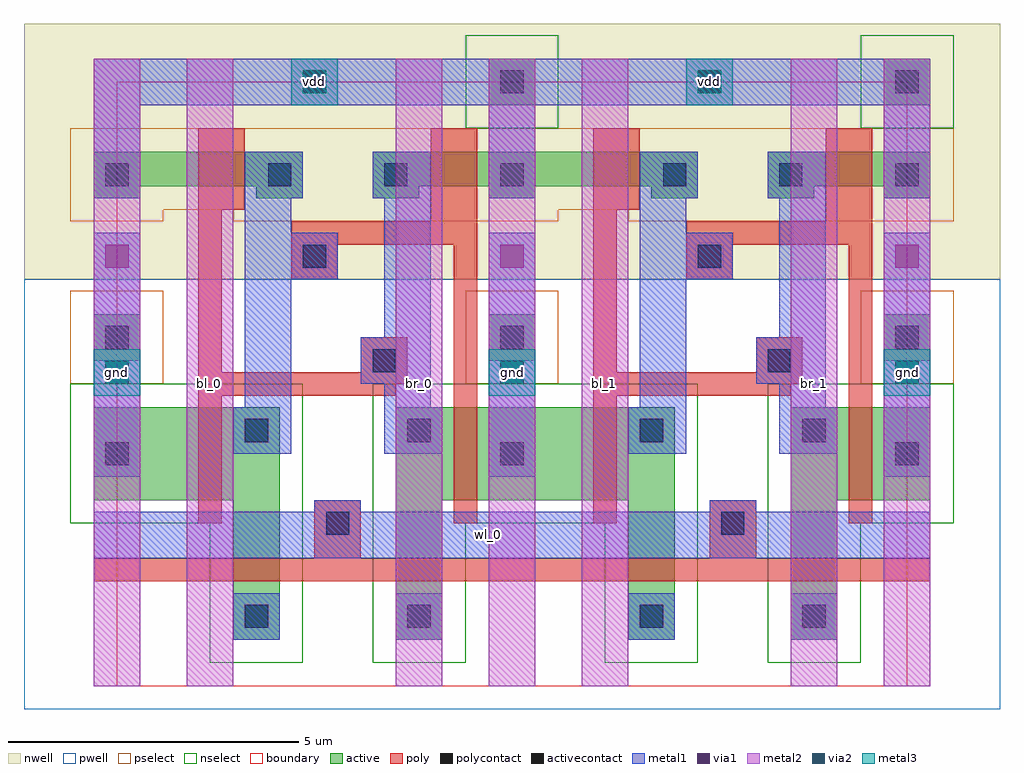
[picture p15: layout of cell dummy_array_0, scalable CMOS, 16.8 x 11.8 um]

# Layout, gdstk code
import gdstk
lib = gdstk.Library(unit=1e-6, precision=1e-09)
def R(c, l, rs):  # rectangles x0, y0, x1, y1
    for r in rs: c.add(gdstk.rectangle(r[:2], r[2:], *l))
def A(c, l, x, y, w, h, nx, ny, dx, dy):  # array of equal rectangles
    R(c, l, [(x+i*dx, y+j*dy, x+i*dx+w, y+j*dy+h) for i in range(nx) for j in range(ny)])
pwell = (41, 0)
nwell = (42, 0)
active = (43, 0)
pselect = (44, 0)
nselect = (45, 0)
poly = (46, 0)
polycontact = (47, 0)
activecontact = (48, 0)
metal1 = (49, 0)
via1 = (50, 0)
metal2 = (51, 0)
via2 = (61, 0)
metal3 = (62, 0)
boundary = (63, 0)

dummy_cell_6t = lib.new_cell('dummy_cell_6t')
R(dummy_cell_6t, pwell, [(-1.6,-0.4,8.4,7)])
R(dummy_cell_6t, nwell, [(-1.6,7,8.4,11.4)])
A(dummy_cell_6t, active, 2.4, 8.4, 0.8, 0.2, 3, 1, 2, 0)
R(dummy_cell_6t, active, [(2,0.8,2.8,3.2), (4.8,0.8,5.6,3.2), (-0.4,3.2,2.8,4.8), (4.8,3.2,7.2,4.8), (-0.4,5.6,0.4,6.4), (6.4,5.6,7.2,6.4), (-0.4,8.4,0.4,8.6), (-0.4,8.6,3.2,9.2), (4.4,8.6,7.2,9.2), (6.4,10,7.2,10.8)])
R(dummy_cell_6t, pselect, [(-0.8,5.2,0.8,6.8), (6,5.2,7.6,6.8), (-0.8,8,0.8,8.2), (2,8,7.6,8.2), (-0.8,8.2,7.6,9.6)])
R(dummy_cell_6t, nselect, [(1.6,0.4,3.2,2.8), (4.4,0.4,6,2.8), (-0.8,2.8,3.2,5.2), (4.4,2.8,7.6,5.2), (6,9.6,7.6,11.2)])
R(dummy_cell_6t, poly, [(-0.4,1.8,7.2,2.2), (3.4,2.2,4.2,3.2), (1.4,2.8,1.8,5), (5.8,2.8,6.2,7.6), (1.4,5,4.8,5.2), (1.4,5.2,5,5.4), (1.4,5.4,1.8,8.2), (4.2,5.4,5,6), (3,7,3.8,7.6), (3,7.6,6.2,8), (5.4,8,6.2,9.6), (1.4,8.2,2.2,9.6)])
R(dummy_cell_6t, polycontact, [(3.6,2.6,4,3), (4.4,5.4,4.8,5.8), (3.2,7.2,3.6,7.6)])
A(dummy_cell_6t, activecontact, 2.6, 8.6, 0.4, 0.4, 3, 1, 2, 0)
R(dummy_cell_6t, activecontact, [(2.2,1,2.6,1.4), (5,1,5.4,1.4), (-0.2,3.8,0.2,4.2), (6.6,3.8,7,4.2), (2.2,4.2,2.6,4.6), (5,4.2,5.4,4.6), (-0.2,5.8,0.2,6.2), (6.6,5.8,7,6.2), (-0.2,8.6,0.2,9), (6.6,10.2,7,10.6)])
R(dummy_cell_6t, metal1, [(2,0.8,2.8,1.6), (4.8,0.8,5.6,1.6), (-0.4,2.2,7.2,3), (-0.4,2.2,7.2,3), (3.4,3,4.2,3.2), (-0.4,3.6,0.4,7.8), (6.4,3.6,7.2,7.8), (2,4,3,4.8), (4.6,4,5.6,4.8), (2.2,4.8,3,7), (4.6,4.8,5.4,5.2), (4.2,5.2,5.4,6), (4.6,6,5.4,8.4), (2.2,7,3.8,7.8), (2.2,7.8,3,8.4), (-0.4,8.4,0.4,10), (2.2,8.4,3.2,9.2), (4.4,8.4,5.4,9.2), (6.4,8.4,7.2,10), (-0.4,10,7.2,10.8)])
R(dummy_cell_6t, via1, [(-0.2,7.2,0.2,7.6), (6.6,7.2,7,7.6), (3.2,10.2,3.6,10.6)])
R(dummy_cell_6t, metal2, [(-0.4,0,0.4,10.8), (-0.4,0,0.4,10.8), (1.2,0,2,10.8), (1.2,0,2,10.8), (4.8,0,5.6,10.8), (4.8,0,5.6,10.8), (6.4,0,7.2,10.8), (6.4,0,7.2,10.8), (3,10,3.8,10.8), (3,10,3.8,10.8)])
R(dummy_cell_6t, boundary, [(0,0,6.8,10.4)])
dummy_cell_6t.add(gdstk.Label('gnd', (0,1.2), layer=51, texttype=0))
dummy_cell_6t.add(gdstk.Label('gnd', (6.8,1.2), layer=51, texttype=0))
dummy_cell_6t.add(gdstk.Label('vdd', (3.4,10.4), layer=51, texttype=0))
dummy_cell_6t.add(gdstk.Label('bl', (1.6,9.8), layer=51, texttype=0))
dummy_cell_6t.add(gdstk.Label('br', (5.2,9.8), layer=51, texttype=0))
dummy_cell_6t.add(gdstk.Label('wl', (0.8,2.6), layer=49, texttype=0))
dummy_cell_6t.add(gdstk.Label('bl', (1.6,5.4), layer=51, texttype=0))
dummy_cell_6t.add(gdstk.Label('br', (5.2,5.4), layer=51, texttype=0))
dummy_cell_6t.add(gdstk.Label('wl', (3.4,2.6), layer=49, texttype=0))
dummy_cell_6t.add(gdstk.Label('vdd', (3.4,10.4), layer=51, texttype=0))
dummy_cell_6t.add(gdstk.Label('gnd', (0,5.4), layer=51, texttype=0))
dummy_cell_6t.add(gdstk.Label('gnd', (6.8,5.4), layer=51, texttype=0))

contact_13 = lib.new_cell('contact_13')
R(contact_13, metal2, [(0,0,0.8,0.8)])
R(contact_13, via2, [(0.2,0.2,0.6,0.6)])
R(contact_13, metal3, [(0,0,0.8,0.8)])

dummy_array_0 = lib.new_cell('dummy_array_0')
R(dummy_array_0, metal1, [(-0.4,2.2,13.2,3)])
R(dummy_array_0, metal2, [(1.2,0,2,10.4), (4.8,0,5.6,10.4), (8,0,8.8,10.4), (11.6,0,12.4,10.4)])
A(dummy_array_0, metal3, -0.4, 5, 0.8, 0.8, 3, 1, 6.8, 0)
R(dummy_array_0, metal3, [(3,10,3.8,10.8), (9.8,10,10.6,10.8)])
R(dummy_array_0, boundary, [(0,0,13.6,10.4)])
dummy_array_0.add(gdstk.Reference(dummy_cell_6t, (0,0)))
dummy_array_0.add(gdstk.Reference(dummy_cell_6t, (6.8,0)))
dummy_array_0.add(gdstk.Reference(contact_13, (3,10)))
dummy_array_0.add(gdstk.Reference(contact_13, (-0.4,5)))
dummy_array_0.add(gdstk.Reference(contact_13, (6.4,5)))
dummy_array_0.add(gdstk.Reference(contact_13, (9.8,10)))
dummy_array_0.add(gdstk.Reference(contact_13, (6.4,5)))
dummy_array_0.add(gdstk.Reference(contact_13, (13.2,5)))
dummy_array_0.add(gdstk.Label('bl_0', (1.6,5.2), layer=51, texttype=0))
dummy_array_0.add(gdstk.Label('br_0', (5.2,5.2), layer=51, texttype=0))
dummy_array_0.add(gdstk.Label('bl_1', (8.4,5.2), layer=51, texttype=0))
dummy_array_0.add(gdstk.Label('br_1', (12,5.2), layer=51, texttype=0))
dummy_array_0.add(gdstk.Label('wl_0', (6.4,2.6), layer=49, texttype=0))
dummy_array_0.add(gdstk.Label('vdd', (10.2,10.4), layer=62, texttype=0))
dummy_array_0.add(gdstk.Label('vdd', (3.4,10.4), layer=62, texttype=0))
dummy_array_0.add(gdstk.Label('gnd', (13.6,5.4), layer=62, texttype=0))
dummy_array_0.add(gdstk.Label('gnd', (6.8,5.4), layer=62, texttype=0))
dummy_array_0.add(gdstk.Label('gnd', (0,5.4), layer=62, texttype=0))

lib.write_gds('dummy_array_0.gds')
